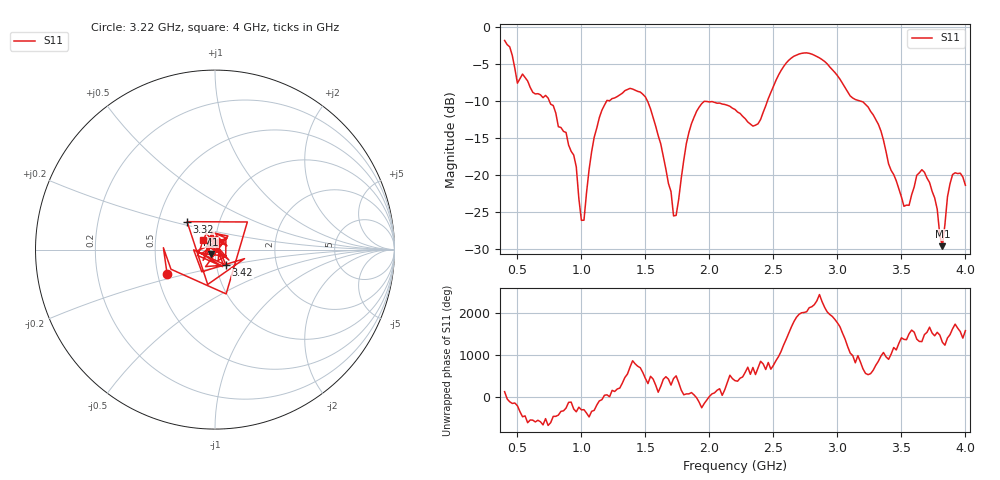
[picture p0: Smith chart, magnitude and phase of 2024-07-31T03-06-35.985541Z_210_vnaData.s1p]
!Created with skrf (http://scikit-rf.org).
# Hz S RI R 50.0
!freq ReS11 ImS11
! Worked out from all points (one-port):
!   181 points, 400 MHz to 4 GHz, reference 50 ohm
!   lowest |S11| = -29.6 dB at 3.82 GHz (marker M1), VSWR 1.07, Z = 47.7 - j2.31 ohm
!   |S11| at or under -10 dB: 749.3 MHz to 1.198 GHz (448.5 MHz wide, 46.1 % of centre); 1.515 GHz to 2.454 GHz (938.1 MHz wide, 47.3 % of centre); 3.175 GHz to end of sweep
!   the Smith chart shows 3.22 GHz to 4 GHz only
!   S11 on the Smith chart (normalised r, x): 3.22 GHz: 0.56, -0.17; 3.32 GHz: 0.70, +0.23; 3.42 GHz: 1.11, -0.20; 4 GHz: 0.87, +0.10
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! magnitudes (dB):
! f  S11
! 400 MHz  -1.8
! 500 MHz  -7.6
! 740 MHz  -9.6
! 860 MHz  -14.1
! 940 MHz  -17.3
! 1.02 GHz  -26.1
! 1.08 GHz  -16.9
! 1.14 GHz  -12.3
! 1.3 GHz  -9.2
! 1.5 GHz  -9.5
! 1.62 GHz  -15.8
! 1.72 GHz  -25.5
! 1.76 GHz  -23.3
! 1.82 GHz  -15.7
! 1.92 GHz  -10.8
! 2.2 GHz  -11.2
! 2.38 GHz  -13.1
! 2.66 GHz  -4.0
! 3.1 GHz  -9.3
! 3.22 GHz  -10.5
! 3.32 GHz  -13.2
! 3.42 GHz  -19.4
! 3.56 GHz  -24.1
! 3.68 GHz  -19.6
! 3.76 GHz  -23.1
! 3.82 GHz  -29.6
! 3.9 GHz  -19.9
! 4 GHz  -21.4
